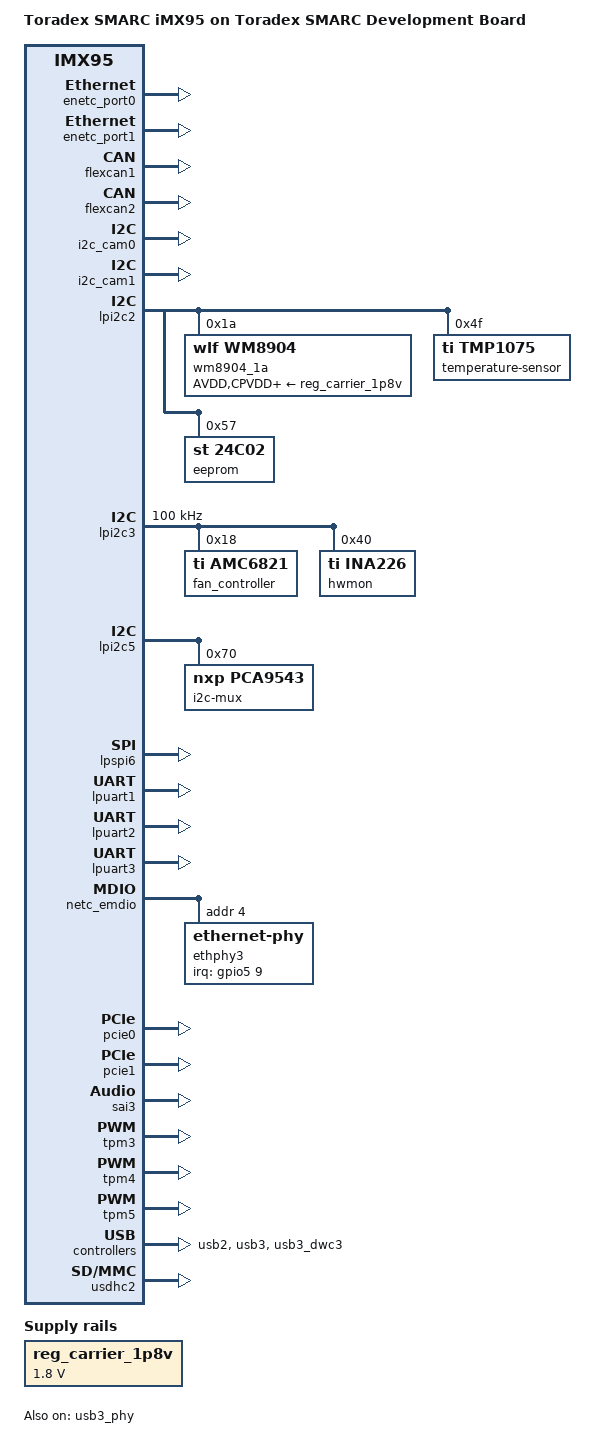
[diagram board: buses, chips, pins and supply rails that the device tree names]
// SPDX-License-Identifier: GPL-2.0-or-later OR MIT
/*
 * Copyright (C) 2025 Toradex
 *
 * https://www.toradex.com/computer-on-modules/smarc-arm-family/nxp-imx95
 * https://www.toradex.com/products/carrier-board/smarc-development-board-kit
 */

/dts-v1/;

#include <dt-bindings/pwm/pwm.h>
#include "imx95-toradex-smarc.dtsi"

/ {
	model = "Toradex SMARC iMX95 on Toradex SMARC Development Board";
	compatible = "toradex,smarc-imx95-dev",
		     "toradex,smarc-imx95",
		     "fsl,imx95";

	reg_carrier_1p8v: regulator-carrier-1p8v {
		compatible = "regulator-fixed";
		regulator-max-microvolt = <1800000>;
		regulator-min-microvolt = <1800000>;
		regulator-name = "On-carrier 1V8";
	};

	sound {
		compatible = "simple-audio-card";
		simple-audio-card,bitclock-master = <&codec_dai>;
		simple-audio-card,format = "i2s";
		simple-audio-card,frame-master = <&codec_dai>;
		simple-audio-card,mclk-fs = <256>;
		simple-audio-card,name = "tdx-smarc-wm8904";
		simple-audio-card,routing =
			"Headphone Jack", "HPOUTL",
			"Headphone Jack", "HPOUTR",
			"IN2L", "Line In Jack",
			"IN2R", "Line In Jack",
			"Microphone Jack", "MICBIAS",
			"IN1L", "Microphone Jack";
		simple-audio-card,widgets =
			"Microphone", "Microphone Jack",
			"Headphone", "Headphone Jack",
			"Line", "Line In Jack";

		codec_dai: simple-audio-card,codec {
			clocks = <&scmi_clk IMX95_CLK_SAI3>;
			sound-dai = <&wm8904_1a>;
		};

		simple-audio-card,cpu {
			sound-dai = <&sai3>;
		};
	};
};

/* SMARC GBE0 */
&enetc_port0 {
	status = "okay";
};

/* SMARC GBE1 */
&enetc_port1 {
	status = "okay";
};

/* SMARC CAN0 */
&flexcan1 {
	status = "okay";
};

/* SMARC CAN1 */
&flexcan2 {
	status = "okay";
};

&gpio2 {
	pinctrl-names = "default";
	pinctrl-0 = <&pinctrl_gpio12>, <&pinctrl_gpio13>;
};

&gpio4 {
	pinctrl-names = "default";
	pinctrl-0 = <&pinctrl_gpio10>, <&pinctrl_gpio11>;
};

&gpio5 {
	pinctrl-names = "default";
	pinctrl-0 = <&pinctrl_gpio2>,
		    <&pinctrl_gpio3>,
		    <&pinctrl_gpio4>,
		    <&pinctrl_gpio6>,
		    <&pinctrl_gpio8>,
		    <&pinctrl_gpio9>;
};

/* SMARC I2C_CAM0 */
&i2c_cam0 {
	status = "okay";
};

/* SMARC I2C_CAM1 */
&i2c_cam1 {
	status = "okay";
};

/* SMARC I2C_GP */
&lpi2c2 {
	status = "okay";

	wm8904_1a: audio-codec@1a {
		compatible = "wlf,wm8904";
		reg = <0x1a>;
		pinctrl-names = "default";
		pinctrl-0 = <&pinctrl_sai3>, <&pinctrl_sai3_mclk>;
		#sound-dai-cells = <0>;
		clocks = <&scmi_clk IMX95_CLK_SAI3>;
		clock-names = "mclk";
		AVDD-supply = <&reg_carrier_1p8v>;
		CPVDD-supply = <&reg_carrier_1p8v>;
		DBVDD-supply = <&reg_carrier_1p8v>;
		DCVDD-supply = <&reg_carrier_1p8v>;
		MICVDD-supply = <&reg_carrier_1p8v>;
	};

	temperature-sensor@4f {
		compatible = "ti,tmp1075";
		reg = <0x4f>;
	};

	eeprom@57 {
		compatible = "st,24c02", "atmel,24c02";
		reg = <0x57>;
		pagesize = <16>;
	};

};

/* SMARC I2C_PM */
&lpi2c3 {
	clock-frequency = <100000>;
	status = "okay";

	fan_controller: fan@18 {
		compatible = "ti,amc6821";
		reg = <0x18>;
		#pwm-cells = <2>;

		fan {
			cooling-levels = <255>;
			pwms = <&fan_controller 40000 PWM_POLARITY_INVERTED>;
		};
	};

	/* Current measurement into module VCC */
	hwmon@40 {
		compatible = "ti,ina226";
		reg = <0x40>;
		shunt-resistor = <5000>;
	};
};

/* SMARC I2C_LCD */
&lpi2c5 {
	status = "okay";

	i2c-mux@70 {
		compatible = "nxp,pca9543";
		reg = <0x70>;
		i2c-mux-idle-disconnect;
		#address-cells = <1>;
		#size-cells = <0>;

		/* I2C on DSI Connector Pins 4/6 */
		i2c_dsi_0: i2c@0 {
			reg = <0>;
			#address-cells = <1>;
			#size-cells = <0>;
		};

		/* I2C on DSI Connector Pins 52/54 */
		i2c_dsi_1: i2c@1 {
			reg = <1>;
			#address-cells = <1>;
			#size-cells = <0>;
		};
	};
};

/* SMARC SPI0 */
&lpspi6 {
	status = "okay";
};

/* SMARC SER1, used as the Linux Console */
&lpuart1 {
	status = "okay";
};

/* SMARC SER0, RS485 */
&lpuart2 {
	linux,rs485-enabled-at-boot-time;
	rs485-rts-active-low;
	rs485-rx-during-tx;
	status = "okay";
};

/* SMARC SER3, RS232 */
&lpuart3 {
	status = "okay";
};

/* SMARC MDIO, shared between all ethernet ports */
&netc_emdio {
	status = "okay";

	ethphy3: ethernet-phy@4 {
		reg = <4>;
		pinctrl-names = "default";
		pinctrl-0 = <&pinctrl_gpio7>;
		interrupt-parent = <&gpio5>;
		interrupts = <9 IRQ_TYPE_LEVEL_LOW>;
	};
};

/* SMARC PCIE_A / M2 Key B */
&pcie0 {
	status = "okay";
};

/* SMARC PCIE_B /  M2 Key E */
&pcie1 {
	status = "okay";
};

/* SMARC I2S0 */
&sai3 {
	status = "okay";
};

/* SMARC LCD0_BKLT_PWM */
&tpm3 {
	status = "okay";
};

/* SMARC LCD1_BKLT_PWM */
&tpm4 {
	status = "okay";
};

/* SMARC GPIO5 as PWM */
&tpm5 {
	status = "okay";
};

/* SMARC USB0 */
&usb2 {
	status = "okay";
};

/* SMARC USB1..4 */
&usb3 {
	status = "okay";
};

&usb3_dwc3 {
	status = "okay";
};

&usb3_phy {
	status = "okay";
};

/* SMARC SDIO */
&usdhc2 {
	status = "okay";
};
